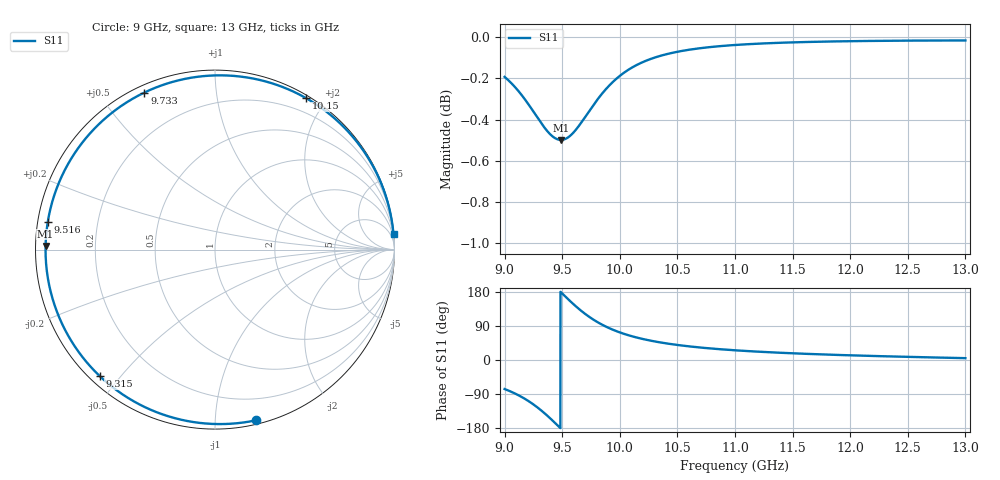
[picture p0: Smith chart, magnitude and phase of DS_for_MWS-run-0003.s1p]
! TOUCHSTONE file generated by CST DESIGN STUDIO
! Date and time: Tue Feb  4 16:01:36 2025
! Project name: C:\Work\MatlabApps\UnitCellOptimizationMatlab\CST\unitcell.cst
! Tree item: Tasks\Sweep1\SPara1\S-Parameters
! Header version: 2024
! Port assignment regex: !\s*Touchstone port\s*([0-9]+)\s*=\s*(CST MWS port|CST DES external port|CST DES block port)\s*(.+)\s* \(\"(.*)\"\)(\s*mode\s*([0-9]+))?.*
! Touchstone port assignment:
! Touchstone port 1 = CST DES external port 1 ("")
# GHz S MA R 50
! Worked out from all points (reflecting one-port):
!   4001 points, 9 GHz to 13 GHz, reference 50 ohm
!   lowest |S11| = -0.5 dB at 9.489 GHz (marker M1), VSWR 34.81, Z = 1.44 + j0.537 ohm
!   phase of S11 starts at -77 deg and turns -279 deg over the sweep
!   S11 on the Smith chart (normalised r, x): 9 GHz: 0.03, -1.27; 9.315 GHz: 0.03, -0.44; 9.516 GHz: 0.03, +0.08; 9.733 GHz: 0.03, +0.65; 10.15 GHz: 0.03, +1.77; 13 GHz: 0, +23
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9  0.978 -76.6
9.081  0.9731 -87.1
9.18  0.9655 -103.2
9.25  0.9592 -117.2
9.315  0.9533 -132.4
9.361  0.9495 -144.4
9.41  0.9463 -158.0
9.45  0.9447 -169.7
9.489  0.9442 178.8
9.5  0.9442 175.5
9.516  0.9444 170.8
9.569  0.9463 155.3
9.629  0.9503 138.9
9.68  0.9546 126.1
9.733  0.9594 114.2
9.787  0.9642 103.5
9.847  0.969 93.1
9.922  0.9742 82.2
10  0.9786 72.8
10.151  0.9847 59.0
10.309  0.9888 48.6
10.5  0.9919 39.7
10.722  0.9941 32.3
11  0.9957 25.6
11.5  0.9971 17.7
12  0.9978 12.3
12.5  0.9981 8.3
13  0.9982 4.9
